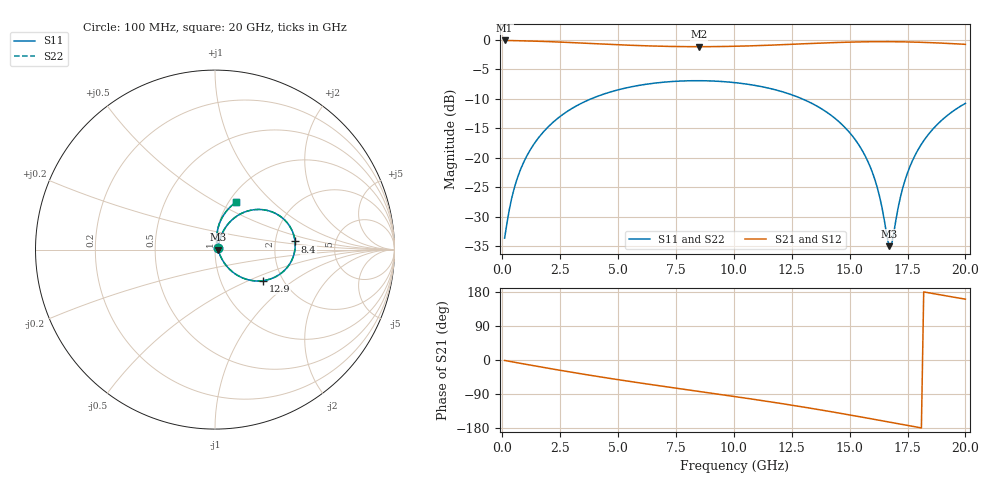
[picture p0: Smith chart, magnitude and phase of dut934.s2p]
! Touchstone file exported from HFSS 2026.1.0
!  File:  C:/ffzhzh/LocalFiles/Ansys_Project_Files/temp_train_TSV_RDL_934_1783280976_5512.aedt
!  Generated:  03:58:11 AM Jul  6, 2026
!  Design:  TSV_RDL
!  Project:  temp_train_TSV_RDL_934_1783280976_5512
! Variables:
!  h_bsmrdl = 4.02um
!  h_ox = 20um
!  h_rdl = 5um
!  h_sub = 91.8um
!  h_tmrdl = 2.9um
!  h_tsv = 91.8um
!  h_via = 3um
!  l_bsmrdl = 131.25um
!  l_sub = 2955um
!  l_tmrdl = 508.58um
!  m_sub = 200um
!  pitch = 43.89um
!  r_tsv = 11.1um
!  s_tmrdl = 10um
!  w_bsmrdl = 26.45um
!  w_sub = 500um
!  w_tmrdl = 15.86um
!  x_tsv_center1 = 516.51um
!  x_tsv_center2 = 674.21um
!  x_tsv_center3 = 1198.65um
!  x_tsv_center4 = 1356.35um
!  x_tsv_center5 = 1880.79um
!  x_tsv_center6 = 2038.49um
# GHz S MA R 50.000000
! Terminal data exported
! Port[1] = TM_RDL1_1_T1
! Port[2] = TM_RDL5_1_T1
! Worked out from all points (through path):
!   200 points, 100 MHz to 20 GHz, reference 50 ohm
!   highest |S21| = -0.16 dB at 100 MHz (marker M1); lowest = -1.2 dB at 8.5 GHz (marker M2)
!   group delay of S21, straight-line fit = 26.9 ps
!   lowest |S11| = -35.0 dB at 16.7 GHz (marker M3), VSWR 1.04, Z = 51.8 - j0.0286 ohm
!   |S11| at or under -10 dB: start of sweep to 3.862 GHz; 12.92 GHz to end of sweep
!   |S22| runs from -35.0 to -7.0 dB; largest |S21 - S12| = 3.6e-14
!   S11 on the Smith chart (normalised r, x): 100 MHz: 1.04, +0.02; 8.4 GHz: 2.59, +0.29; 12.9 GHz: 1.58, -0.61; 20 GHz: 1.08, +0.62
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0.1  0.02083 28.8  0.9819 -1.2  0.9819 -1.2  0.02083 28.8
! Gamma 0 0 0 0
! Port Impedance 50 0 50 0
0.3  0.03602 54.6  0.9805 -3.5  0.9805 -3.5  0.03602 54.6
0.5  0.05369 62.2  0.9785 -5.7  0.9785 -5.7  0.05369 62.2
0.8  0.08038 65.6  0.9755 -9.0  0.9755 -9.0  0.08038 65.6
1.2  0.1157 65.6  0.9712 -13.3  0.9712 -13.3  0.1157 65.6
2.2  0.1999 59.3  0.9568 -24.1  0.9568 -24.1  0.1999 59.3
3.5  0.2939 48.1  0.9322 -37.4  0.9322 -37.4  0.2939 48.1
6.8  0.4321 19.2  0.8777 -68.2  0.8777 -68.2  0.4321 19.2
8.4  0.4482 5.8  0.8695 -82.1  0.8695 -82.1  0.4482 5.8
8.5  0.4481 5.0  0.8695 -83.0  0.8695 -83.0  0.4481 5.0
10.1  0.4304 -8.5  0.8772 -97.0  0.8772 -97.0  0.4303 -8.5
12.9  0.3176 -33.1  0.918 -123.1  0.918 -123.1  0.3176 -33.1
13.4  0.286 -37.6  0.9268 -128.1  0.9268 -128.1  0.2859 -37.6
14.7  0.1883 -49.1  0.947 -141.7  0.947 -141.7  0.1882 -49.1
15.6  0.1099 -54.9  0.9561 -151.5  0.9561 -151.5  0.1099 -54.9
16.2  0.05525 -52.2  0.9588 -158.1  0.9588 -158.1  0.0552 -52.2
16.7  0.0178 -0.9  0.9588 -163.7  0.9588 -163.7  0.01775 -0.8
16.8  0.01789 29.3  0.9585 -164.8  0.9585 -164.8  0.01787 29.5
17.3  0.05585 79.8  0.9558 -170.4  0.9558 -170.4  0.05588 79.9
17.9  0.1114 82.4  0.9498 -177.0  0.9498 -177.0  0.1115 82.4
18.8  0.1922 76.6  0.9356 173.2  0.9356 173.2  0.1923 76.6
20  0.288 66.0  0.9105 160.6  0.9105 160.6  0.2881 66.0
